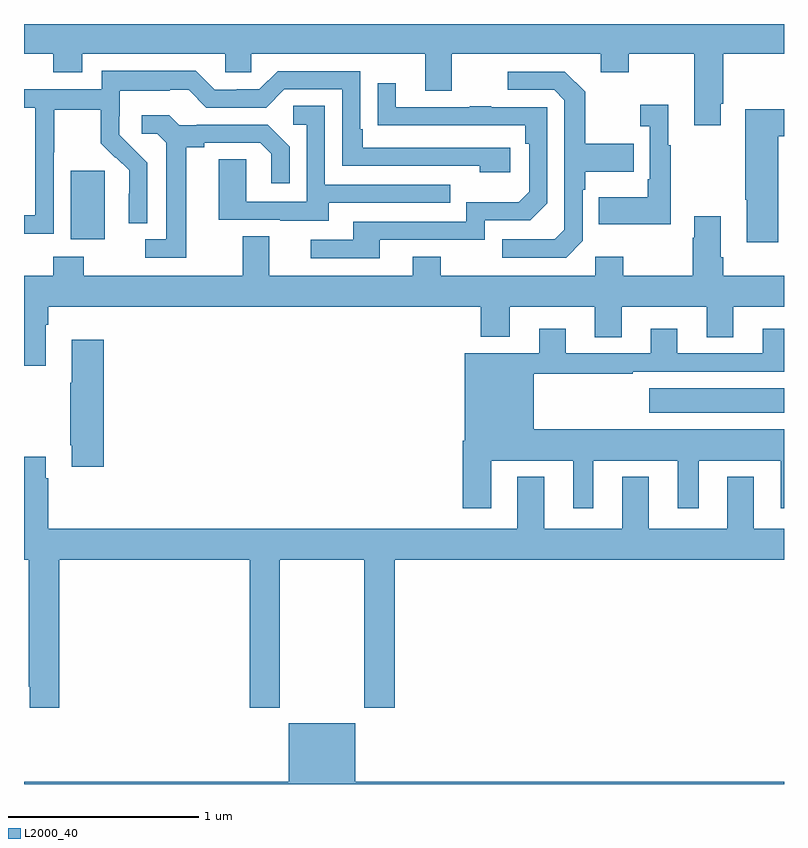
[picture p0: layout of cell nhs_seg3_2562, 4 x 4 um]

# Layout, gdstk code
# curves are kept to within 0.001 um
import gdstk
lib = gdstk.Library(unit=1e-6, precision=1e-09)
def R(c, l, rs):  # rectangles x0, y0, x1, y1
    for r in rs: c.add(gdstk.rectangle(r[:2], r[2:], *l))
def P(c, l, *ps):  # polygons
    for p in ps: c.add(gdstk.Polygon(p, *l))
L2000_40 = (2000, 40)

nhs_seg3_2562 = lib.new_cell('nhs_seg3_2562')
R(nhs_seg3_2562, L2000_40, [(246.291,704.354,247,704.482), (243.245,705.266,243.424,705.627)])
P(nhs_seg3_2562, L2000_40, [(246.667,705.979),(246.68,705.979),(246.68,706.244),(247,706.244),(247,706.4),(243,706.4),(243,706.244),(243.155,706.244),(243.155,706.145),(243.307,706.145),(243.307,706.244),(244.059,706.244),(244.059,706.146),(244.197,706.146),(244.197,706.244),(245.111,706.244),(245.111,706.05),(245.251,706.05),(245.251,706.244),(246.035,706.244),(246.035,706.145),(246.183,706.145),(246.183,706.244),(246.527,706.244),(246.527,705.867),(246.667,705.867)],
  [(243.156,705.724),(243.159,705.724),(243.159,705.948),(243.403,705.948),(243.403,705.773),(243.48,705.696),(243.483,705.699),(243.554,705.629),(243.554,705.506),(243.552,705.506),(243.552,705.352),(243.648,705.352),(243.648,705.67),(243.502,705.818),(243.502,705.915),(243.504,705.915),(243.504,706.049),(243.767,706.049),(243.767,706.053),(243.867,706.053),(243.96,705.96),(244.275,705.96),(244.371,706.056),(244.674,706.056),(244.674,705.654),(245.399,705.654),(245.399,705.62),(245.56,705.62),(245.56,705.75),(244.783,705.75),(244.783,705.847),(244.77,705.847),(244.77,706.152),(244.335,706.152),(244.239,706.056),(244.121,706.056),(244.121,706.053),(244.005,706.053),(243.905,706.153),(243.408,706.153),(243.408,706.056),(243,706.056),(243,705.96),(243.06,705.96),(243.06,705.393),(243,705.393),(243,705.295),(243.156,705.295)],
  [(245.94,705.258),(245.94,705.527),(245.953,705.527),(245.953,705.623),(246.209,705.623),(246.209,705.771),(245.953,705.771),(245.953,706.043),(245.847,706.149),(245.547,706.149),(245.547,706.053),(245.79,706.053),(245.844,705.999),(245.844,705.318),(245.793,705.267),(245.517,705.267),(245.517,705.171),(245.853,705.171)],
  [(244.873,705.264),(245.424,705.264),(245.424,705.366),(245.664,705.366),(245.754,705.456),(245.754,705.963),(245.459,705.963),(245.459,705.968),(245.347,705.968),(245.347,705.963),(244.957,705.963),(244.957,706.087),(244.861,706.087),(244.861,705.868),(245.638,705.867),(245.638,705.77),(245.658,705.77),(245.658,705.516),(245.605,705.463),(245.328,705.463),(245.328,705.36),(244.733,705.36),(244.733,705.264),(244.509,705.264),(244.509,705.168),(244.873,705.168)],
  [(246.403,705.763),(246.391,705.763),(246.391,705.976),(246.243,705.976),(246.243,705.863),(246.294,705.863),(246.294,705.583),(246.282,705.583),(246.282,705.487),(246.025,705.487),(246.025,705.347),(246.403,705.347)],
  [(244.603,705.459),(245.243,705.459),(245.243,705.555),(244.584,705.555),(244.584,705.971),(244.416,705.971),(244.416,705.87),(244.488,705.87),(244.488,705.465),(244.17,705.465),(244.17,705.689),(244.025,705.689),(244.025,705.369),(244.349,705.369),(244.349,705.365),(244.603,705.365)],
  [(246.971,705.809),(247,705.809),(247,705.951),(246.796,705.951),(246.796,705.475),(246.803,705.475),(246.803,705.252),(246.971,705.252)],
  [(243.853,705.752),(243.949,705.752),(243.949,705.774),(244.244,705.774),(244.301,705.717),(244.301,705.561),(244.398,705.561),(244.398,705.754),(244.282,705.87),(243.91,705.87),(243.91,705.867),(243.816,705.867),(243.764,705.919),(243.621,705.919),(243.621,705.822),(243.702,705.822),(243.749,705.775),(243.749,705.267),(243.639,705.267),(243.639,705.171),(243.853,705.171)],
  [(243.115,704.816),(243.128,704.816),(243.128,704.912),(245.405,704.912),(245.405,704.753),(245.557,704.753),(245.557,704.912),(246.005,704.912),(246.005,704.752),(246.145,704.752),(246.145,704.912),(246.593,704.912),(246.593,704.752),(246.733,704.752),(246.733,704.912),(247,704.912),(247,705.076),(246.68,705.076),(246.68,705.172),(246.667,705.172),(246.667,705.388),(246.527,705.388),(246.527,705.275),(246.52,705.275),(246.52,705.076),(246.153,705.076),(246.153,705.175),(246.006,705.175),(246.006,705.076),(245.193,705.076),(245.193,705.175),(245.045,705.175),(245.045,705.076),(244.291,705.076),(244.291,705.284),(244.151,705.284),(244.151,705.076),(243.315,705.076),(243.315,705.175),(243.155,705.175),(243.155,705.076),(243,705.076),(243,704.601),(243.115,704.601)],
  [(245.458,704.102),(245.891,704.102),(245.891,703.851),(245.995,703.851),(245.995,704.102),(246.44,704.102),(246.44,703.851),(246.55,703.851),(246.55,704.102),(246.983,704.102),(246.983,703.851),(247,703.851),(247,704.266),(245.683,704.266),(245.683,704.559),(246.203,704.559),(246.203,704.571),(247,704.571),(247,704.797),(246.887,704.797),(246.887,704.667),(246.439,704.667),(246.439,704.797),(246.299,704.797),(246.299,704.667),(245.851,704.667),(245.851,704.797),(245.711,704.797),(245.711,704.668),(245.321,704.668),(245.321,704.206),(245.309,704.206),(245.309,703.851),(245.458,703.851)],
  [(243.419,704.737),(243.251,704.737),(243.251,704.513),(243.244,704.513),(243.244,704.182),(243.251,704.182),(243.251,704.07),(243.419,704.07)],
  [(243.185,703.58),(244.187,703.58),(244.187,702.801),(244.347,702.801),(244.347,703.58),(244.792,703.58),(244.792,702.801),(244.952,702.801),(244.952,703.58),(247,703.58),(247,703.744),(246.841,703.744),(246.841,704.017),(246.701,704.017),(246.701,703.744),(246.289,703.744),(246.289,704.017),(246.149,704.017),(246.149,703.744),(245.737,703.744),(245.737,704.017),(245.597,704.017),(245.597,703.744),(243.128,703.744),(243.128,704.009),(243.115,704.009),(243.115,704.122),(243,704.122),(243,703.58),(243.025,703.58),(243.025,702.913),(243.029,702.913),(243.029,702.801),(243.185,702.801)],
  [(247,702.412),(244.744,702.412),(244.744,702.721),(244.394,702.721),(244.394,702.412),(243,702.412),(243,702.4),(247,702.4)])

lib.write_gds('nhs_seg3_2562.gds')
